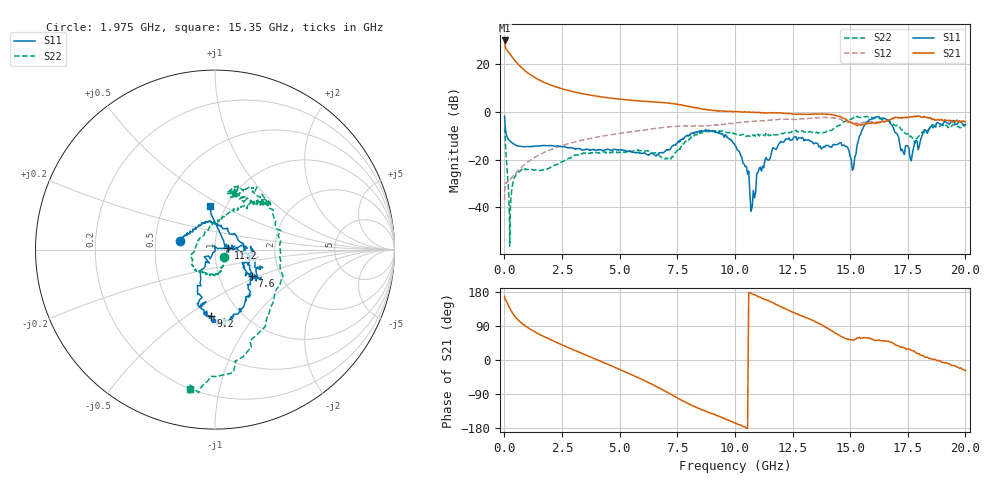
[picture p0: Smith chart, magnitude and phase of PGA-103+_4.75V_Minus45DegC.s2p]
!Mini-Circuits Laboratory
!S-Parameters, Port extension performed
!Model: PGA-103+
!Run / Lot / Date Code: N/A / BP170-001-01-101EV / 1210
!Fixture: TB-313
!Network Analyzer: PNA-X N5242A - 423 4 ports;  Serial number: 71013
!Date: 5/24/2012 at 5:22:02 PM
!S/N: Unit# 1
!Tested with: Vdd=4.75V at -45C
# Hz  S  dB  R  50
!Frequency  S11 dB  S11 Deg  S21 dB  S21 Deg  S12 dB  S12 Deg  S22 dB  S22 Deg
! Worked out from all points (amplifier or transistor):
!   660 points, 10 MHz to 20 GHz, reference 50 ohm
!   highest |S21| = 30.0 dB at 10 MHz (marker M1)
!   |S21| within 3 dB of that: start of sweep to 50.24 MHz
!   unconditionally stable (mu >= 1): 118.7 MHz to 11.64 GHz; 11.66 GHz to 12.14 GHz; 19.4 GHz to end of sweep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
!   at 1.275 GHz: K = 1.10, MAG = 15.1 dB, |S12| = -19.3 dB
!   at 6.775 GHz: K = 1.01, MAG = 4.8 dB, |S12| = -6.6 dB
!   at 20 GHz: K = 1.07, MAG = -1.7 dB, |S12| = -4.2 dB
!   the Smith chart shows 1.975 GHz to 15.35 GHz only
!   S11 on the Smith chart (normalised r, x): 1.975 GHz: 0.67, +0.07; 7.6 GHz: 1.44, -0.46; 9.2 GHz: 0.73, -0.63; 11.2 GHz: 1.16, +0.02; 15.35 GHz: 0.84, +0.44
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1e7  -1.76 -23.7  30.01 167.8  -36.81 74.3  -6.50 -31.4
6e7  -8.37 -47.7  26.70 158.1  -29.68 23.7  -16.28 -82.1
1.7e8  -11.30 -63.2  25.20 144.7  -29.06 25.7  -31.02 -103.9
2.4e8  -12.16 -76.6  24.31 135.9  -28.30 31.0  -51.57 81.5
3.6e8  -13.09 -97.7  22.77 123.3  -27.08 37.7  -30.05 58.1
5.6e8  -14.21 -123.5  20.43 108.0  -24.90 45.2  -25.82 36.0
7.5e8  -14.48 -141.3  18.54 97.2  -23.10 48.1  -24.20 24.3
1e9  -14.44 -158.6  16.51 86.1  -21.06 49.0  -24.13 11.7
1.975e9  -14.04 166.2  11.44 54.3  -15.89 39.5  -23.36 -40.0
3.35e9  -15.91 142.0  7.72 17.8  -11.91 16.1  -17.59 -78.9
5.05e9  -15.84 100.8  5.34 -26.3  -8.85 -19.9  -17.05 -116.2
6.675e9  -17.49 40.5  4.10 -72.5  -6.76 -61.3  -17.68 -170.2
7.6e9  -11.85 -35.7  3.09 -103.4  -5.97 -89.7  -15.42 80.9
9.2e9  -8.59 -93.7  0.63 -146.2  -5.39 -133.7  -8.02 40.8
1.005e10  -14.49 -114.9  0.21 -167.3  -4.55 -155.8  -9.25 51.2
1.075e10  -39.86 89.2  -0.09 174.6  -3.94 -174.8  -9.31 59.9
1.12e10  -22.72 5.5  -0.33 162.2  -3.65 172.3  -9.43 70.1
1.335e10  -12.46 -34.3  -0.89 105.8  -2.51 113.1  -8.58 27.2
1.535e10  -12.22 96.3  -5.43 57.9  -4.59 66.5  -2.09 -100.1
1.67e10  -4.17 37.2  -3.19 48.7  -3.17 48.8  -3.68 -106.0
1.76e10  -19.22 124.7  -2.08 28.4  -2.06 28.4  -10.38 -63.2
2e10  -5.17 103.2  -4.19 -28.4  -4.16 -28.4  -5.17 -15.2
